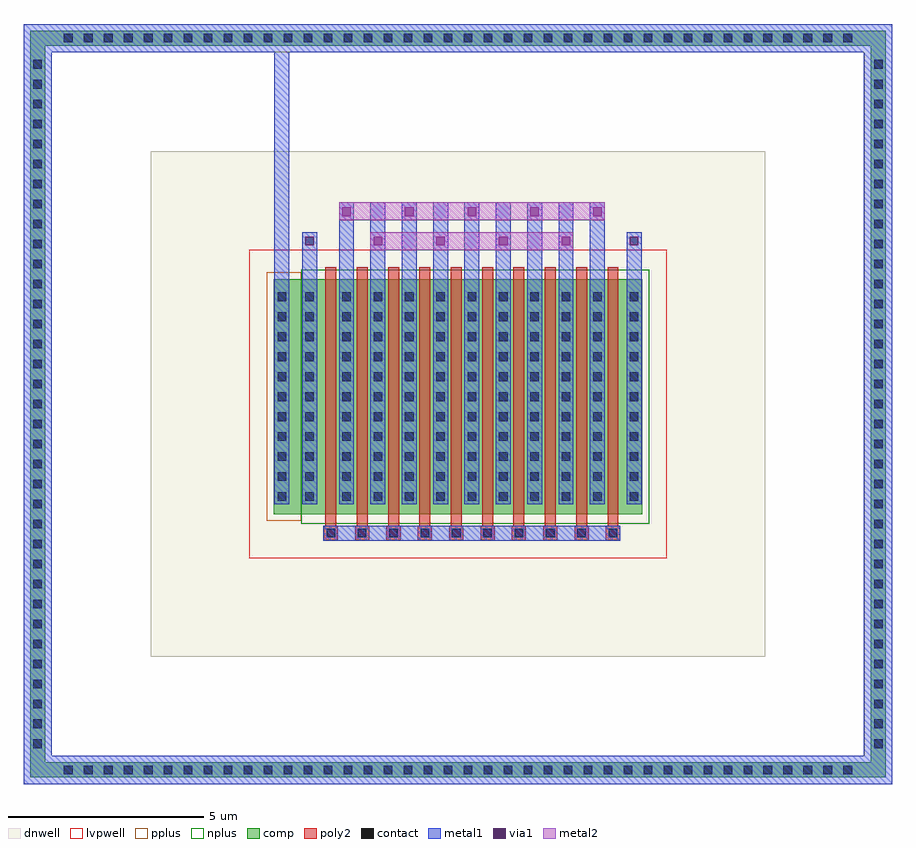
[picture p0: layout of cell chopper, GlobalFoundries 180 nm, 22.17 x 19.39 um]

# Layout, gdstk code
from math import pi, radians
import gdstk
lib = gdstk.Library(unit=1e-6, precision=1e-09)
def R(c, l, rs):  # rectangles x0, y0, x1, y1
    for r in rs: c.add(gdstk.rectangle(r[:2], r[2:], *l))
def A(c, l, x, y, w, h, nx, ny, dx, dy):  # array of equal rectangles
    R(c, l, [(x+i*dx, y+j*dy, x+i*dx+w, y+j*dy+h) for i in range(nx) for j in range(ny)])
def P(c, l, *ps):  # polygons
    for p in ps: c.add(gdstk.Polygon(p, *l))
dnwell = (12, 0)
comp = (22, 0)
poly2 = (30, 0)
pplus = (31, 0)
nplus = (32, 0)
contact = (33, 0)
metal1 = (34, 0)
via1 = (35, 0)
metal2 = (36, 0)
lvpwell = (204, 0)

nfet = lib.new_cell('nfet')
R(nfet, dnwell, [(-3.55,-3.26,12.12,9.632)])
R(nfet, comp, [(-0.42,0,0,6), (0,0,7.86,6), (7.86,0,8.28,6), (8.28,0,8.99,6)])
P(nfet, comp, [(-6.63,-6.34),(-6.63,12.332),(-6.25,12.332),(-6.25,-5.96),(14.82,-5.96),(14.82,12.332),(-6.63,12.332),(-6.63,12.712),(15.2,12.712),(15.2,-6.34)])
A(nfet, poly2, 0.19, -0.3, 0.28, 6.6, 10, 1, 0.8, 0)
A(nfet, poly2, 0.15, 6.3, 0.36, 0.36, 10, 1, 0.8, 0)
R(nfet, pplus, [(8.28,-0.17,9.16,6.17)])
P(nfet, pplus, [(-6.8,-6.51),(-6.8,12.162),(-6.08,12.162),(-6.08,-5.79),(14.65,-5.79),(14.65,12.162),(-6.8,12.162),(-6.8,12.882),(15.37,12.882),(15.37,-6.51)])
R(nfet, nplus, [(-0.59,-0.24,8.28,6.24)])
A(nfet, contact, -5.77, -6.26, 0.22, 0.22, 40, 2, 0.51, 18.672)
A(nfet, contact, -6.55, -5.594, 0.22, 0.22, 1, 35, 0, 0.51)
A(nfet, contact, 14.9, -5.594, 0.22, 0.22, 1, 35, 0, 0.51)
A(nfet, contact, -0.32, 0.34, 0.22, 0.22, 1, 11, 0, 0.51)
A(nfet, contact, 0.62, 0.34, 0.22, 0.22, 9, 11, 0.8, 0.51)
A(nfet, contact, 7.96, 0.34, 0.22, 0.22, 1, 11, 0, 0.51)
A(nfet, contact, 8.67, 0.34, 0.22, 0.22, 1, 11, 0, 0.51)
A(nfet, contact, 0.22, 6.37, 0.22, 0.22, 10, 1, 0.8, 0)
A(nfet, metal1, 0.54, 0.26, 0.38, 5.48, 9, 1, 0.8, 0)
A(nfet, metal1, 0.14, 6.289, 0.38, 0.382, 10, 1, 0.8, 0)
R(nfet, metal1, [(-0.4,0.26,-0.02,5.74), (7.88,0.26,8.26,5.74), (8.59,0.26,8.97,5.74)])
R(nfet, lvpwell, [(-1.04,-0.75,9.61,7.122)])

chopper = lib.new_cell('chopper')
A(chopper, metal1, -81.03, 1.448, 0.38, 2.218, 9, 1, 0.8, 0)
R(chopper, metal1, [(-89.08,-11.175,-67.64,-10.453), (-67.64,-11.175,-66.91,7.497), (-89.08,-10.453,-88.36,7.497), (-81.22,-4.963,-74,-4.581), (-82.68,1.44,-82.3,8.04), (-81.97,1.448,-81.59,2.906), (-73.69,1.448,-73.31,2.906), (-89.08,7.497,-66.91,8.217)])
A(chopper, via1, -80.15, 2.566, 0.22, 0.22, 4, 1, 1.6, 0)
A(chopper, via1, -80.95, 3.316, 0.22, 0.22, 5, 1, 1.6, 0)
R(chopper, via1, [(-81.89,2.566,-81.67,2.786), (-73.61,2.566,-73.39,2.786)])
R(chopper, metal2, [(-80.23,2.446,-75.05,2.906), (-81.03,3.206,-74.25,3.666)])
chopper.add(gdstk.Reference(nfet, (-73.71,1.707), rotation=pi))

lib.write_gds('chopper.gds')
